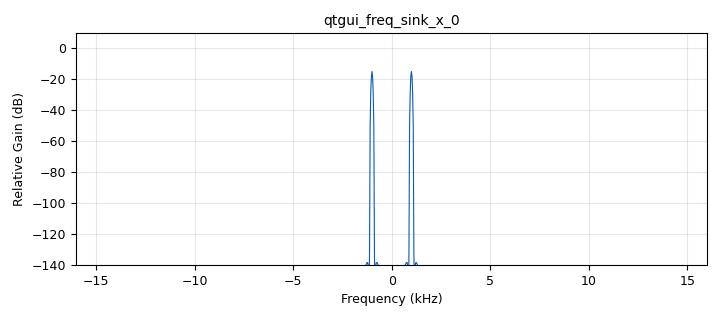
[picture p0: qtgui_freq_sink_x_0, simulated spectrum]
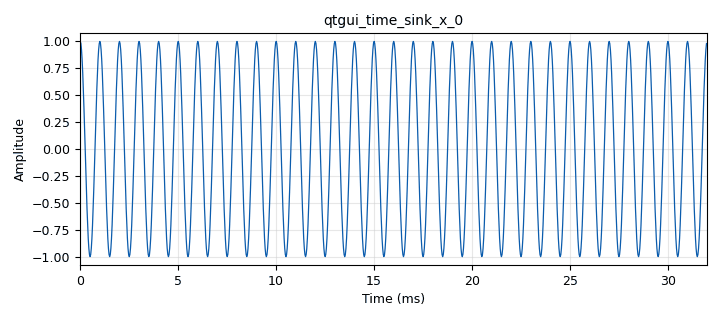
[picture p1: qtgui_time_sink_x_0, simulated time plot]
<?xml version='1.0' encoding='utf-8'?>
<?grc format='1' created='3.7.10'?>
<flow_graph>
<block>
<key>options</key>
<param><key>id</key><value>example3</value></param>
<param><key>author</key><value>Alexandros-Apostolos A. Boulogeorgos</value></param>
<param><key>generate_options</key><value>qt_gui</value></param>
</block>
<block>
<key>variable_qtgui_range</key>
<param><key>id</key><value>f0</value></param>
<param><key>value</key><value>1000</value></param>
<param><key>gui_hint</key><value>1,1,1,1</value></param>
<param><key>orient</key><value>Qt.Horizontal</value></param>
<param><key>start</key><value>-5000</value></param>
<param><key>step</key><value>1</value></param>
<param><key>stop</key><value>5000</value></param>
</block>
<block>
<key>variable_qtgui_range</key>
<param><key>id</key><value>offset</value></param>
<param><key>value</key><value>0</value></param>
<param><key>gui_hint</key><value>0,1,1,1</value></param>
<param><key>orient</key><value>Qt.Horizontal</value></param>
<param><key>start</key><value>-1</value></param>
<param><key>step</key><value>0.01</value></param>
<param><key>stop</key><value>1</value></param>
</block>
<block>
<key>variable</key>
<param><key>id</key><value>samp_rate_0</value></param>
<param><key>value</key><value>32000</value></param>
</block>
<block>
<key>variable_qtgui_chooser</key>
<param><key>id</key><value>waveform1</value></param>
<param><key>value</key><value>102</value></param>
<param><key>gui_hint</key><value>0,0,2,1</value></param>
<param><key>label0</key><value>Sine</value></param>
<param><key>label1</key><value>Cosine</value></param>
<param><key>label2</key><value>Rectangular</value></param>
<param><key>label3</key><value>Triangular</value></param>
<param><key>label4</key><value>Saw tooth</value></param>
<param><key>label</key><value>Waveform of signal source 1</value></param>
<param><key>num_opts</key><value>5</value></param>
<param><key>option0</key><value>101</value></param>
<param><key>option1</key><value>102</value></param>
<param><key>option2</key><value>103</value></param>
<param><key>option3</key><value>104</value></param>
<param><key>option4</key><value>105</value></param>
<param><key>type</key><value>string</value></param>
<param><key>widget</key><value>radio_buttons</value></param>
</block>
<block>
<key>analog_sig_source_x</key>
<param><key>id</key><value>analog_sig_source_x_0</value></param>
<param><key>amp</key><value>1</value></param>
<param><key>freq</key><value>f0</value></param>
<param><key>offset</key><value>offset</value></param>
<param><key>type</key><value>float</value></param>
<param><key>samp_rate</key><value>samp_rate_0</value></param>
<param><key>waveform</key><value>waveform1</value></param>
</block>
<block>
<key>blocks_throttle</key>
<param><key>id</key><value>blocks_throttle_0</value></param>
<param><key>samples_per_second</key><value>samp_rate_0</value></param>
<param><key>type</key><value>float</value></param>
</block>
<block>
<key>qtgui_freq_sink_x</key>
<param><key>id</key><value>qtgui_freq_sink_x_0</value></param>
<param><key>bw</key><value>samp_rate_0</value></param>
<param><key>fc</key><value>0</value></param>
<param><key>fftsize</key><value>1024</value></param>
<param><key>gui_hint</key><value>2,1,1,1</value></param>
<param><key>showports</key><value>True</value></param>
<param><key>type</key><value>float</value></param>
<param><key>wintype</key><value>firdes.WIN_BLACKMAN_hARRIS</value></param>
</block>
<block>
<key>qtgui_sink_x</key>
<param><key>id</key><value>qtgui_sink_x_0</value></param>
<param><key>bw</key><value>samp_rate_0</value></param>
<param><key>fc</key><value>0</value></param>
<param><key>freqchangevar</key><value>None</value></param>
<param><key>_enabled</key><value>0</value></param>
<param><key>fftsize</key><value>1024</value></param>
<param><key>showports</key><value>True</value></param>
<param><key>type</key><value>float</value></param>
<param><key>wintype</key><value>firdes.WIN_BLACKMAN_hARRIS</value></param>
</block>
<block>
<key>qtgui_time_sink_x</key>
<param><key>id</key><value>qtgui_time_sink_x_0</value></param>
<param><key>gui_hint</key><value>2,0,1,1</value></param>
<param><key>color1</key><value>"blue"</value></param>
<param><key>label1</key><value></value></param>
<param><key>size</key><value>1024</value></param>
<param><key>srate</key><value>samp_rate_0</value></param>
<param><key>type</key><value>float</value></param>
</block>
<connection><source_block_id>analog_sig_source_x_0</source_block_id><sink_block_id>blocks_throttle_0</sink_block_id><source_key>0</source_key><sink_key>0</sink_key></connection>
<connection><source_block_id>blocks_throttle_0</source_block_id><sink_block_id>qtgui_freq_sink_x_0</sink_block_id><source_key>0</source_key><sink_key>0</sink_key></connection>
<connection><source_block_id>blocks_throttle_0</source_block_id><sink_block_id>qtgui_sink_x_0</sink_block_id><source_key>0</source_key><sink_key>0</sink_key></connection>
<connection><source_block_id>blocks_throttle_0</source_block_id><sink_block_id>qtgui_time_sink_x_0</sink_block_id><source_key>0</source_key><sink_key>0</sink_key></connection>
</flow_graph>
